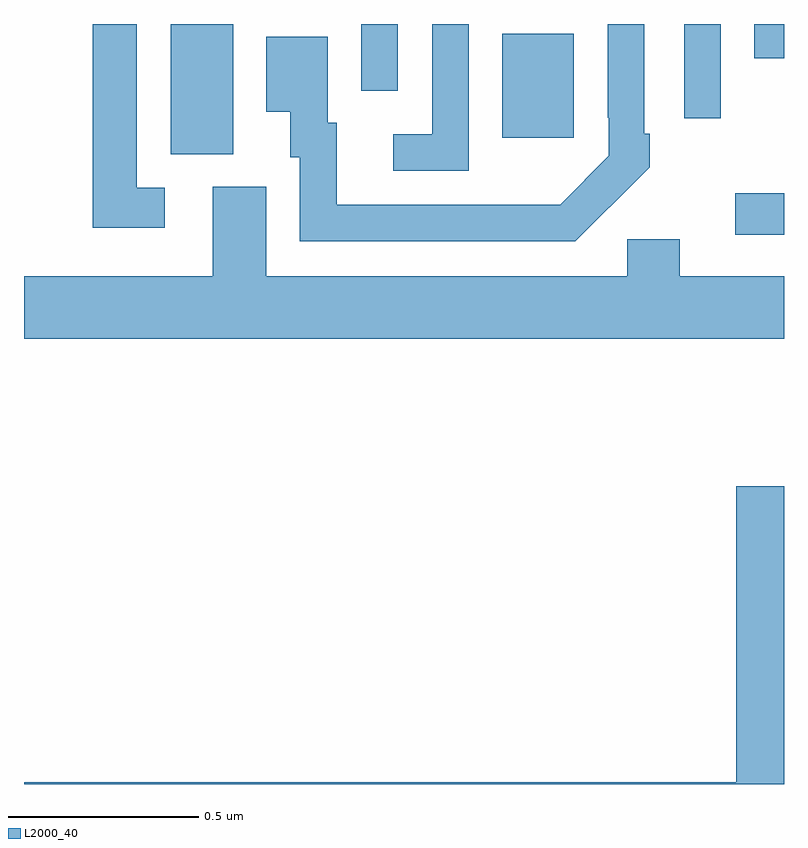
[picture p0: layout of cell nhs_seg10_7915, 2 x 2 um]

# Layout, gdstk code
import gdstk
lib = gdstk.Library(unit=1e-6, precision=1e-09)
def R(c, l, rs):  # rectangles x0, y0, x1, y1
    for r in rs: c.add(gdstk.rectangle(r[:2], r[2:], *l))
def P(c, l, *ps):  # polygons
    for p in ps: c.add(gdstk.Polygon(p, *l))
L2000_40 = (2000, 40)

nhs_seg10_7915 = lib.new_cell('nhs_seg10_7915')
R(nhs_seg10_7915, L2000_40, [(211.872,1277.946,212,1278.055), (210.386,1278.157,210.55,1278.5), (211.259,1278.201,211.447,1278.475), (211.737,1278.252,211.833,1278.5), (210.888,1278.324,210.984,1278.5), (211.922,1278.41,212,1278.5)])
P(nhs_seg10_7915, L2000_40, [(211.541,1278.019),(211.542,1278.018),(211.647,1278.123),(211.647,1278.211),(211.632,1278.211),(211.632,1278.5),(211.536,1278.5),(211.536,1278.253),(211.539,1278.253),(211.539,1278.153),(211.411,1278.025),(211.307,1278.025),(211.307,1278.024),(210.823,1278.024),(210.823,1278.24),(210.799,1278.24),(210.799,1278.466),(210.638,1278.466),(210.638,1278.269),(210.701,1278.269),(210.701,1278.15),(210.726,1278.15),(210.726,1277.928),(211.45,1277.928)],
  [(211.17,1278.5),(211.074,1278.5),(211.074,1278.21),(210.972,1278.21),(210.972,1278.114),(211.17,1278.114)],
  [(210.37,1278.069),(210.297,1278.069),(210.297,1278.5),(210.181,1278.5),(210.181,1277.964),(210.37,1277.964)],
  [(212,1277.836),(211.726,1277.836),(211.726,1277.934),(211.587,1277.934),(211.587,1277.836),(210.637,1277.836),(210.637,1278.072),(210.497,1278.072),(210.497,1277.836),(210,1277.836),(210,1277.672),(212,1277.672)],
  [(212,1277.283),(211.874,1277.283),(211.874,1276.504),(210,1276.504),(210,1276.5),(212,1276.5)])

lib.write_gds('nhs_seg10_7915.gds')
